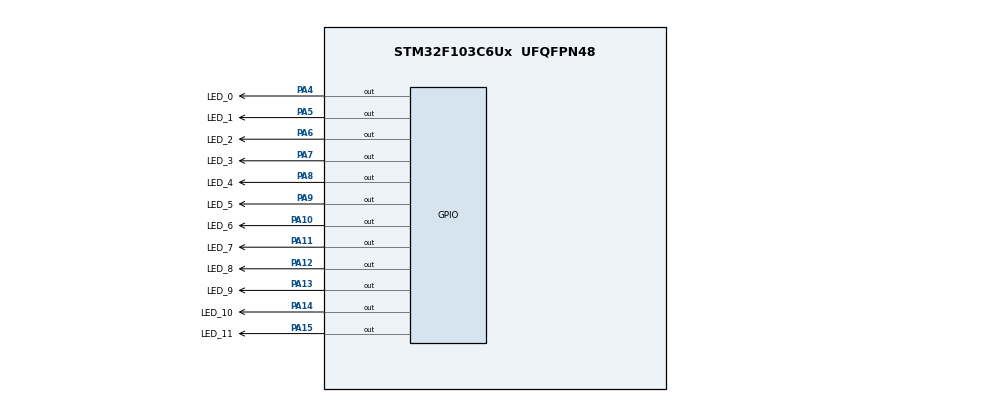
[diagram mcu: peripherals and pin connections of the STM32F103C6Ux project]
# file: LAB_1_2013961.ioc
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Mcu.Family=STM32F1
Mcu.Name=STM32F103C6Ux
Mcu.Package=UFQFPN48
NVIC.PriorityGroup=NVIC_PRIORITYGROUP_4
PA10.GPIO_Label=LED_6
PA10.Signal=GPIO_Output
PA11.GPIO_Label=LED_7
PA11.Signal=GPIO_Output
PA12.GPIO_Label=LED_8
PA12.Signal=GPIO_Output
PA13.GPIO_Label=LED_9
PA13.Signal=GPIO_Output
PA14.GPIO_Label=LED_10
PA14.Signal=GPIO_Output
PA15.GPIO_Label=LED_11
PA15.Signal=GPIO_Output
PA4.GPIO_Label=LED_0
PA4.Signal=GPIO_Output
PA5.GPIO_Label=LED_1
PA5.Signal=GPIO_Output
PA6.GPIO_Label=LED_2
PA6.Signal=GPIO_Output
PA7.GPIO_Label=LED_3
PA7.Signal=GPIO_Output
PA8.GPIO_Label=LED_4
PA8.Signal=GPIO_Output
PA9.GPIO_Label=LED_5
PA9.Signal=GPIO_Output
ProjectManager.HeapSize=0x200
ProjectManager.StackSize=0x400
ProjectManager.TargetToolchain=STM32CubeIDE
RCC.APB1Freq_Value=8000000
RCC.APB2Freq_Value=8000000
VP_SYS_VS_ND.Mode=No_Debug
board=custom

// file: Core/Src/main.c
/* USER CODE BEGIN Header */
/**
  ******************************************************************************
  * @file           : main.c
  * @brief          : Main program body
  ******************************************************************************
  * @attention
  *
  * <h2><center>&copy; Copyright (c) 2022 STMicroelectronics.
  * All rights reserved.</center></h2>
  *
  * This software component is licensed by ST under BSD 3-Clause license,
  * the "License"; You may not use this file except in compliance with the
  * License. You may obtain a copy of the License at:
  *                        opensource.org/licenses/BSD-3-Clause
  *
  ******************************************************************************
  */
/* USER CODE END Header */
#include "main.h"

void SystemClock_Config(void);
static void MX_GPIO_Init(void);
/* USER CODE BEGIN PFP */
//void display7SEG(int num);
/* USER CODE END PFP */

int main(void)
{

  /* MCU Configuration--------------------------------------------------------*/

  /* Reset of all peripherals, Initializes the Flash interface and the Systick. */
  HAL_Init();

  /* Configure the system clock */
  SystemClock_Config();

  /* USER CODE BEGIN SysInit */

  void clearNumberOnClock(int num);
  void setNumberOnClock(int num);

  /* USER CODE END SysInit */

  /* Initialize all configured peripherals */
  MX_GPIO_Init();
  /* USER CODE BEGIN 2 */
  // cycle la bien chu ki cua de kim giay tien len 1
	int cycle = 1;
	// bien dem cho kim giay, kim phut, kim gio
	int second = 0;
	int minute = 0;
	int hour = 0;
	int counter  = cycle;

	// trang thai ban dau cua he thong

	HAL_GPIO_WritePin(LED_0_GPIO_Port, LED_0_Pin, GPIO_PIN_SET);
	HAL_GPIO_WritePin(LED_1_GPIO_Port, LED_1_Pin, GPIO_PIN_SET);
	HAL_GPIO_WritePin(LED_2_GPIO_Port, LED_2_Pin, GPIO_PIN_SET);
	HAL_GPIO_WritePin(LED_3_GPIO_Port, LED_3_Pin, GPIO_PIN_SET);
	HAL_GPIO_WritePin(LED_4_GPIO_Port, LED_4_Pin, GPIO_PIN_SET);
	HAL_GPIO_WritePin(LED_5_GPIO_Port, LED_5_Pin, GPIO_PIN_SET);
	HAL_GPIO_WritePin(LED_6_GPIO_Port, LED_6_Pin, GPIO_PIN_SET);
	HAL_GPIO_WritePin(LED_7_GPIO_Port, LED_7_Pin, GPIO_PIN_SET);
	HAL_GPIO_WritePin(LED_8_GPIO_Port, LED_8_Pin, GPIO_PIN_SET);
	HAL_GPIO_WritePin(LED_9_GPIO_Port, LED_9_Pin, GPIO_PIN_SET);
	HAL_GPIO_WritePin(LED_10_GPIO_Port, LED_10_Pin, GPIO_PIN_SET);
	HAL_GPIO_WritePin(LED_11_GPIO_Port, LED_11_Pin, GPIO_PIN_SET);
  /* USER CODE END 2 */

  /* Infinite loop */
  /* USER CODE BEGIN WHILE */
  while (1)
  {
	  //cu sau cycle thi kim giay se thay doi tu vi tri i - 1 den vi tri i
	  // de lam nhu vay thi se phai tat den o vi tri i - 1 neu khong co bong den hien thi cua kim phut va kim gio
	  // sau do ta se bat bong den tai vi tri i

	 // thuc hien tat bong den o vi tri i - 1
	  switch(second){
	  	  // xet truong hop tai bien khi kim giay o vi tri 0
	 	  case 0:
	 		  //neu truoc do bong den o vi tri i - 1 ko duoc bat boi kim phut va kim giay thi ta se tat bong den o vi tri i - 1
	 		  if(minute != 11 && hour != 11) clearNumberOnClock(11);
	 		  break;
	 	// xet truong hop tai bien khi kim giay o vi tri 0
	 	  default:
	 		  if(second - minute != 1 && second - hour != 1) clearNumberOnClock(second-1);
	 		  break;
	 	  }
	 	  setNumberOnClock(second);

	 	  switch(minute){
	 	  	  case 0:
	 	  		  if(second != 11 && hour != 11) clearNumberOnClock(11);
	 	  		  break;
	 	  	  default:
	 	  		  if(minute - second != 1 && minute - hour != 1) clearNumberOnClock(minute - 1);
	 	  		  break;
	 	  }
	 	 setNumberOnClock(minute);
	 	 switch(hour){
			  case 0:
				  if(second != 11 && minute != 11) clearNumberOnClock(11);
				  break;
			  default:
				  if(hour - second != 1 && hour - minute != 1) clearNumberOnClock(hour - 1);
				  break;
	 	 }
	 	 setNumberOnClock(hour);

	 	 // giam bien dem counter
	 	 counter--;
	 	 // bien dem = 0 co nghia la kim giay se tang 1 bac tu vi tri i sang i + 1
	 	  if(counter == 0){
	 		  //reset lai bien dem = cycle
	 		  counter = cycle;
	 		  second++;
	 		  //kim giay o vi tri 11 se tro lai vi tri 0 dong thoi tang kim phut len 1
	 		  if(second >= 12) {

	 			 second = 0;
	 			 minute++;
	 			 //tuong tu kim phut o vi tri 11 se tro lai vi tri 0 va tang kim gio len 1
	 			 if(minute >= 12){
	 				 minute = 0;
	 				 hour++;
	 				 // kim gio o vi tri 11 se tro lai vi tri 0
					  if(hour >= 12){
						  hour = 0;
					  }
	 			 }
	 		  }
	 	  }

    /* USER CODE END WHILE */

    /* USER CODE BEGIN 3 */
	   HAL_Delay(1000);
  }
  /* USER CODE END 3 */
}

void SystemClock_Config(void)
{
  RCC_OscInitTypeDef RCC_OscInitStruct = {0};
  RCC_ClkInitTypeDef RCC_ClkInitStruct = {0};

  /** Initializes the RCC Oscillators according to the specified parameters
  * in the RCC_OscInitTypeDef structure.
  */
  RCC_OscInitStruct.OscillatorType = RCC_OSCILLATORTYPE_HSI;
  RCC_OscInitStruct.HSIState = RCC_HSI_ON;
  RCC_OscInitStruct.HSICalibrationValue = RCC_HSICALIBRATION_DEFAULT;
  RCC_OscInitStruct.PLL.PLLState = RCC_PLL_NONE;
  if (HAL_RCC_OscConfig(&RCC_OscInitStruct) != HAL_OK)
  {
    Error_Handler();
  }
  /** Initializes the CPU, AHB and APB buses clocks
  */
  RCC_ClkInitStruct.ClockType = RCC_CLOCKTYPE_HCLK|RCC_CLOCKTYPE_SYSCLK
                              |RCC_CLOCKTYPE_PCLK1|RCC_CLOCKTYPE_PCLK2;
  RCC_ClkInitStruct.SYSCLKSource = RCC_SYSCLKSOURCE_HSI;
  RCC_ClkInitStruct.AHBCLKDivider = RCC_SYSCLK_DIV1;
  RCC_ClkInitStruct.APB1CLKDivider = RCC_HCLK_DIV1;
  RCC_ClkInitStruct.APB2CLKDivider = RCC_HCLK_DIV1;

  if (HAL_RCC_ClockConfig(&RCC_ClkInitStruct, FLASH_LATENCY_0) != HAL_OK)
  {
    Error_Handler();
  }
}

static void MX_GPIO_Init(void)
{
  GPIO_InitTypeDef GPIO_InitStruct = {0};

  /* GPIO Ports Clock Enable */
  __HAL_RCC_GPIOA_CLK_ENABLE();

  /*Configure GPIO pin Output Level */
  HAL_GPIO_WritePin(GPIOA, LED_0_Pin|LED_1_Pin|LED_2_Pin|LED_3_Pin
                          |LED_4_Pin|LED_5_Pin|LED_6_Pin|LED_7_Pin
                          |LED_8_Pin|LED_9_Pin|LED_10_Pin|LED_11_Pin, GPIO_PIN_RESET);

  /*Configure GPIO pins : LED_0_Pin LED_1_Pin LED_2_Pin LED_3_Pin
                           LED_4_Pin LED_5_Pin LED_6_Pin LED_7_Pin
                           LED_8_Pin LED_9_Pin LED_10_Pin LED_11_Pin */
  GPIO_InitStruct.Pin = LED_0_Pin|LED_1_Pin|LED_2_Pin|LED_3_Pin
                          |LED_4_Pin|LED_5_Pin|LED_6_Pin|LED_7_Pin
                          |LED_8_Pin|LED_9_Pin|LED_10_Pin|LED_11_Pin;
  GPIO_InitStruct.Mode = GPIO_MODE_OUTPUT_PP;
  GPIO_InitStruct.Pull = GPIO_NOPULL;
  GPIO_InitStruct.Speed = GPIO_SPEED_FREQ_LOW;
  HAL_GPIO_Init(GPIOA, &GPIO_InitStruct);

}

/* USER CODE BEGIN 4 */

void clearNumberOnClock(int num){
	switch(num){
		  case 0:
			  HAL_GPIO_WritePin(LED_0_GPIO_Port, LED_0_Pin, GPIO_PIN_SET);
			  break;
		  case 1:
			  HAL_GPIO_WritePin(LED_1_GPIO_Port, LED_1_Pin, GPIO_PIN_SET);
			  break;
		  case 2:
			  HAL_GPIO_WritePin(LED_2_GPIO_Port, LED_2_Pin, GPIO_PIN_SET);
			  break;
		  case 3:
			  HAL_GPIO_WritePin(LED_3_GPIO_Port, LED_3_Pin, GPIO_PIN_SET);
			  break;
		  case 4:
			  HAL_GPIO_WritePin(LED_4_GPIO_Port, LED_4_Pin, GPIO_PIN_SET);
			  break;
		  case 5:
			  HAL_GPIO_WritePin(LED_5_GPIO_Port, LED_5_Pin, GPIO_PIN_SET);
			  break;
		  case 6:
			  HAL_GPIO_WritePin(LED_6_GPIO_Port, LED_6_Pin, GPIO_PIN_SET);
			  break;
		  case 7:
			  HAL_GPIO_WritePin(LED_7_GPIO_Port, LED_7_Pin, GPIO_PIN_SET);
			  break;
		  case 8:
			  HAL_GPIO_WritePin(LED_8_GPIO_Port, LED_8_Pin, GPIO_PIN_SET);
			  break;
		  case 9:
			  HAL_GPIO_WritePin(LED_9_GPIO_Port, LED_9_Pin, GPIO_PIN_SET);
			  break;
		  case 10:
			  HAL_GPIO_WritePin(LED_10_GPIO_Port, LED_10_Pin, GPIO_PIN_SET);
			  break;
		  case 11:
			  HAL_GPIO_WritePin(LED_11_GPIO_Port, LED_11_Pin, GPIO_PIN_SET);
			  break;
		  }
}

void setNumberOnClock(int num){
	switch(num){
			  case 0:
				  HAL_GPIO_WritePin(LED_0_GPIO_Port, LED_0_Pin, GPIO_PIN_RESET);
				  break;
			  case 1:
				  HAL_GPIO_WritePin(LED_1_GPIO_Port, LED_1_Pin, GPIO_PIN_RESET);
				  break;
			  case 2:
				  HAL_GPIO_WritePin(LED_2_GPIO_Port, LED_2_Pin, GPIO_PIN_RESET);
				  break;
			  case 3:
				  HAL_GPIO_WritePin(LED_3_GPIO_Port, LED_3_Pin, GPIO_PIN_RESET);
				  break;
			  case 4:
				  HAL_GPIO_WritePin(LED_4_GPIO_Port, LED_4_Pin, GPIO_PIN_RESET);
				  break;
			  case 5:
				  HAL_GPIO_WritePin(LED_5_GPIO_Port, LED_5_Pin, GPIO_PIN_RESET);
				  break;
			  case 6:
				  HAL_GPIO_WritePin(LED_6_GPIO_Port, LED_6_Pin, GPIO_PIN_RESET);
				  break;
			  case 7:
				  HAL_GPIO_WritePin(LED_7_GPIO_Port, LED_7_Pin, GPIO_PIN_RESET);
				  break;
			  case 8:
				  HAL_GPIO_WritePin(LED_8_GPIO_Port, LED_8_Pin, GPIO_PIN_RESET);
				  break;
			  case 9:
				  HAL_GPIO_WritePin(LED_9_GPIO_Port, LED_9_Pin, GPIO_PIN_RESET);
				  break;
			  case 10:
				  HAL_GPIO_WritePin(LED_10_GPIO_Port, LED_10_Pin, GPIO_PIN_RESET);
				  break;
			  case 11:
				  HAL_GPIO_WritePin(LED_11_GPIO_Port, LED_11_Pin, GPIO_PIN_RESET);
				  break;
			  }
}
/* USER CODE END 4 */

void Error_Handler(void)
{
  __disable_irq();
  while (1)
  {
  }
}

/************************ (C) COPYRIGHT STMicroelectronics *****END OF FILE****/
